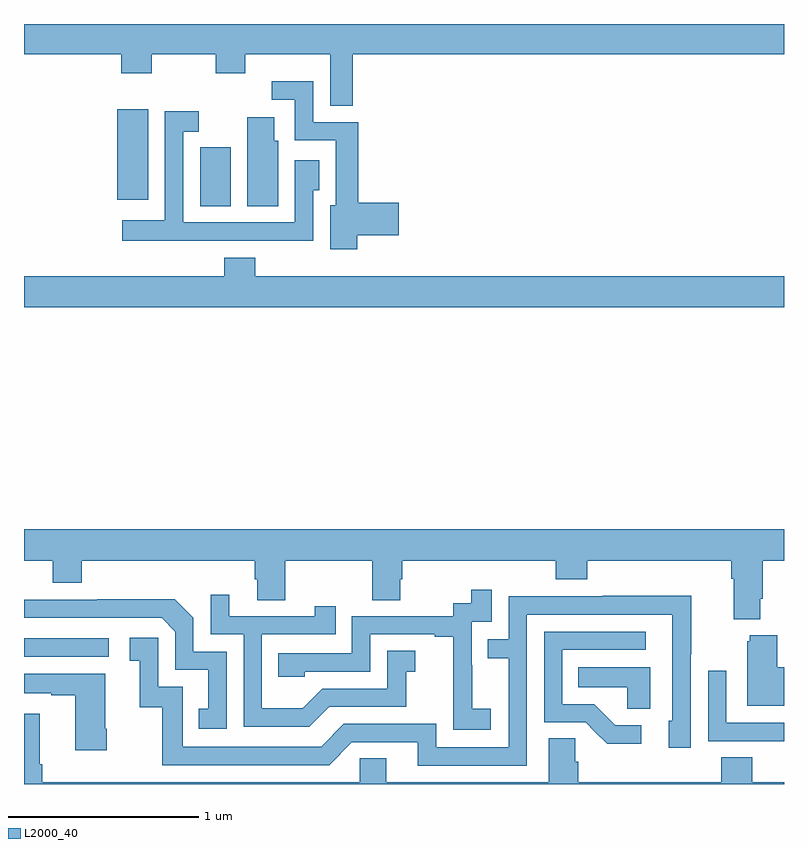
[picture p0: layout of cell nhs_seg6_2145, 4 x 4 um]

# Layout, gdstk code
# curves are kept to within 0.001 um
import gdstk
lib = gdstk.Library(unit=1e-6, precision=1e-09)
def R(c, l, rs):  # rectangles x0, y0, x1, y1
    for r in rs: c.add(gdstk.rectangle(r[:2], r[2:], *l))
def P(c, l, *ps):  # polygons
    for p in ps: c.add(gdstk.Polygon(p, *l))
L2000_40 = (2000, 40)

nhs_seg6_2145 = lib.new_cell('nhs_seg6_2145')
R(nhs_seg6_2145, L2000_40, [(239,940.17,239.446,940.266), (239.927,942.541,240.088,942.852), (239.492,942.576,239.653,943.051)])
P(nhs_seg6_2145, L2000_40, [(240.73,943.34),(243,943.34),(243,943.5),(239,943.5),(239,943.34),(239.513,943.34),(239.513,943.241),(239.673,943.241),(239.673,943.34),(240.01,943.34),(240.01,943.241),(240.165,943.241),(240.165,943.34),(240.611,943.34),(240.611,943.069),(240.73,943.069)],
  [(240.755,942.389),(240.973,942.389),(240.973,942.56),(240.76,942.56),(240.76,942.984),(240.522,942.984),(240.522,943.198),(240.303,943.198),(240.303,943.101),(240.426,943.101),(240.426,942.888),(240.641,942.888),(240.641,942.547),(240.611,942.547),(240.611,942.315),(240.755,942.315)],
  [(239.935,942.36),(240.301,942.36),(240.301,942.359),(240.522,942.359),(240.522,942.625),(240.553,942.625),(240.553,942.784),(240.426,942.784),(240.426,942.456),(239.838,942.456),(239.838,942.933),(239.92,942.933),(239.92,943.042),(239.742,943.042),(239.742,942.466),(239.517,942.466),(239.517,942.359),(239.935,942.359)],
  [(240.337,942.885),(240.316,942.885),(240.316,943.009),(240.176,943.009),(240.176,942.541),(240.337,942.541)],
  [(243,942.172),(240.218,942.172),(240.218,942.271),(240.053,942.271),(240.053,942.172),(239,942.172),(239,942.008),(243,942.008)],
  [(242.875,940.474),(242.888,940.474),(242.888,940.676),(243,940.676),(243,940.84),(239,940.84),(239,940.676),(239.15,940.676),(239.15,940.559),(239.303,940.559),(239.303,940.676),(240.215,940.676),(240.215,940.578),(240.227,940.578),(240.227,940.468),(240.375,940.468),(240.375,940.676),(240.832,940.676),(240.832,940.468),(240.979,940.468),(240.979,940.578),(240.992,940.578),(240.992,940.676),(241.799,940.676),(241.799,940.577),(241.964,940.577),(241.964,940.676),(242.723,940.676),(242.723,940.58),(242.735,940.58),(242.735,940.367),(242.875,940.367)],
  [(241.456,939.895),(241.358,939.895),(241.358,940.124),(241.356,940.124),(241.356,940.353),(241.461,940.353),(241.461,940.522),(241.353,940.522),(241.353,940.452),(241.26,940.452),(241.26,940.383),(240.726,940.383),(240.726,940.188),(240.337,940.188),(240.337,940.065),(240.477,940.065),(240.477,940.092),(240.822,940.092),(240.822,940.287),(241.163,940.287),(241.163,940.275),(241.259,940.275),(241.259,939.991),(241.258,939.991),(241.258,939.785),(241.456,939.785)],
  [(240.607,939.906),(241.011,939.906),(241.011,940.091),(241.06,940.091),(241.06,940.201),(240.912,940.201),(240.912,940.002),(240.57,940.002),(240.466,939.898),(240.252,939.898),(240.252,940.287),(240.641,940.287),(240.641,940.435),(240.53,940.435),(240.53,940.383),(240.079,940.383),(240.079,940.495),(239.982,940.495),(239.982,940.287),(240.156,940.287),(240.156,939.801),(240.502,939.801)],
  [(241.647,940.392),(242.412,940.392),(242.412,939.834),(242.393,939.834),(242.393,939.69),(242.508,939.69),(242.508,940.183),(242.511,940.183),(242.511,940.49),(242.047,940.49),(242.047,940.488),(241.551,940.488),(241.551,940.263),(241.441,940.263),(241.441,940.162),(241.551,940.162),(241.551,939.693),(241.17,939.693),(241.17,939.816),(240.684,939.816),(240.564,939.696),(239.835,939.696),(239.835,940.011),(239.706,940.011),(239.706,940.27),(239.556,940.27),(239.556,940.149),(239.609,940.149),(239.609,939.903),(239.727,939.903),(239.727,939.6),(240.606,939.6),(240.726,939.72),(241.073,939.72),(241.073,939.597),(241.647,939.597)],
  [(240.066,940.197),(239.892,940.197),(239.892,940.374),(239.794,940.472),(239.386,940.472),(239.386,940.47),(239,940.47),(239,940.374),(239.724,940.374),(239.796,940.302),(239.796,940.101),(239.969,940.101),(239.969,939.897),(239.92,939.897),(239.92,939.792),(240.066,939.792)],
  [(242.248,939.81),(242.113,939.81),(242.002,939.921),(241.833,939.921),(241.833,940.206),(242.272,940.206),(242.272,940.302),(241.737,940.302),(241.737,939.825),(241.956,939.825),(242.069,939.713),(242.248,939.713)],
  [(243,940.114),(242.965,940.114),(242.965,940.282),(242.819,940.282),(242.819,940.251),(242.807,940.251),(242.807,939.911),(243,939.911)],
  [(242.296,940.114),(241.918,940.114),(241.918,940.01),(242.175,940.01),(242.175,939.895),(242.296,939.895)],
  [(243,939.822),(242.697,939.822),(242.697,940.096),(242.601,940.096),(242.601,939.726),(242.917,939.726),(242.917,939.725),(243,939.725)],
  [(239.436,939.79),(239.428,939.79),(239.428,940.081),(239.001,940.081),(239.001,939.977),(239.144,939.977),(239.144,939.967),(239.27,939.967),(239.27,939.678),(239.436,939.678)],
  [(239,939.871),(239,939.5),(243,939.5),(243,939.508),(242.834,939.508),(242.834,939.641),(242.669,939.641),(242.669,939.508),(241.916,939.508),(241.916,939.617),(241.902,939.617),(241.902,939.74),(241.763,939.74),(241.763,939.508),(240.907,939.508),(240.907,939.635),(240.768,939.635),(240.768,939.508),(239.096,939.508),(239.096,939.604),(239.083,939.604),(239.083,939.871)])

lib.write_gds('nhs_seg6_2145.gds')
